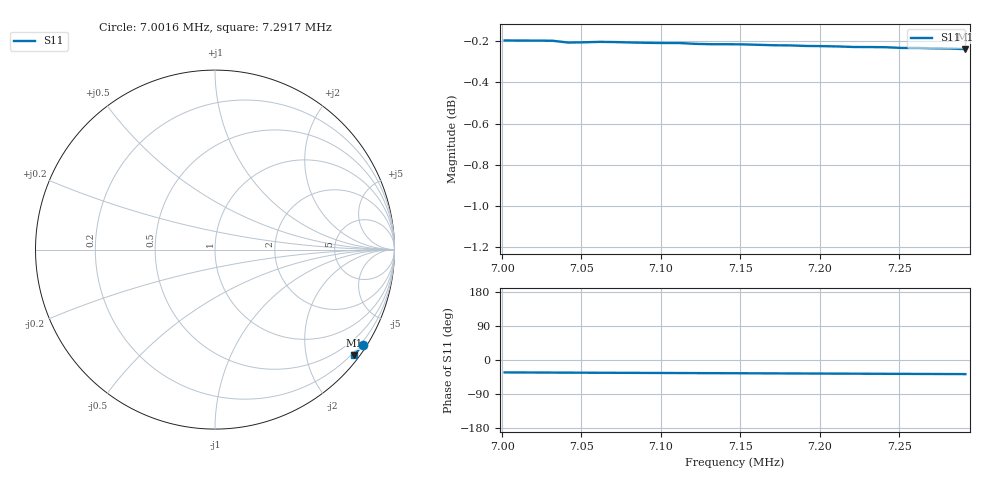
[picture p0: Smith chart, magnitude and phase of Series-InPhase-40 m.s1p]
# HZ S RI R 50
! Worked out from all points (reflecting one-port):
!   30 points, 7.0016 MHz to 7.2917 MHz, reference 50 ohm
!   lowest |S11| = -0.2 dB at 7.2917 MHz (marker M1), VSWR 72.99, Z = 6.71 - j148 ohm
!   phase of S11 starts at -33 deg and turns -4 deg over the sweep
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7001600  0.8223 -0.5288
7021608  0.8194 -0.5332
7031612  0.818 -0.5352
7041616  0.8155 -0.5372
7051620  0.8144 -0.5392
7061624  0.8131 -0.5415
7071628  0.8117 -0.5435
7081632  0.8099 -0.5456
7091636  0.8083 -0.5476
7101640  0.8069 -0.5496
7111644  0.8054 -0.5518
7121648  0.8036 -0.5536
7131652  0.8019 -0.5558
7141656  0.8003 -0.558
7151660  0.7988 -0.56
7171668  0.7955 -0.5638
7181672  0.7938 -0.5661
7191676  0.792 -0.568
7201680  0.7904 -0.5702
7211684  0.7887 -0.5722
7221688  0.787 -0.5741
7231692  0.7853 -0.5763
7241696  0.7835 -0.5786
7251700  0.7818 -0.5803
7261704  0.7801 -0.5826
7271708  0.7783 -0.5846
7281712  0.7765 -0.5868
7291716  0.7746 -0.5888
